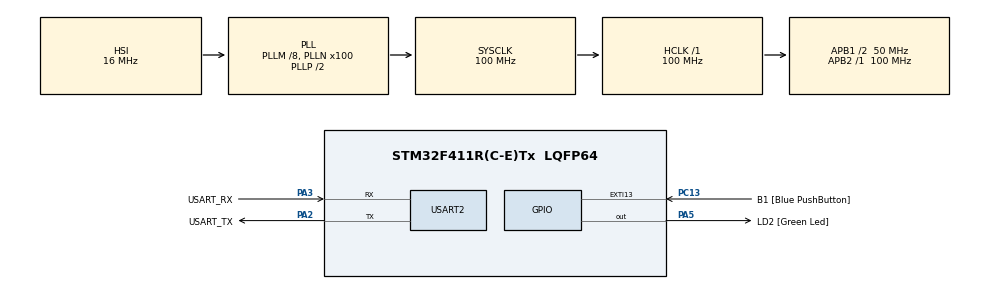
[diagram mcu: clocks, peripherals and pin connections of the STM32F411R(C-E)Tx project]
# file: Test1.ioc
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Dma.Request0=USART2_RX
Dma.Request1=USART2_TX
Dma.USART2_RX.0.Direction=DMA_PERIPH_TO_MEMORY
Dma.USART2_RX.0.FIFOMode=DMA_FIFOMODE_DISABLE
Dma.USART2_RX.0.Instance=DMA1_Stream5
Dma.USART2_RX.0.MemDataAlignment=DMA_MDATAALIGN_BYTE
Dma.USART2_RX.0.MemInc=DMA_MINC_ENABLE
Dma.USART2_RX.0.Mode=DMA_NORMAL
Dma.USART2_RX.0.PeriphDataAlignment=DMA_PDATAALIGN_BYTE
Dma.USART2_RX.0.PeriphInc=DMA_PINC_DISABLE
Dma.USART2_RX.0.Priority=DMA_PRIORITY_LOW
Dma.USART2_TX.1.Direction=DMA_MEMORY_TO_PERIPH
Dma.USART2_TX.1.FIFOMode=DMA_FIFOMODE_DISABLE
Dma.USART2_TX.1.Instance=DMA1_Stream6
Dma.USART2_TX.1.MemDataAlignment=DMA_MDATAALIGN_BYTE
Dma.USART2_TX.1.MemInc=DMA_MINC_ENABLE
Dma.USART2_TX.1.Mode=DMA_NORMAL
Dma.USART2_TX.1.PeriphDataAlignment=DMA_PDATAALIGN_BYTE
Dma.USART2_TX.1.PeriphInc=DMA_PINC_DISABLE
Dma.USART2_TX.1.Priority=DMA_PRIORITY_LOW
Mcu.Family=STM32F4
Mcu.Name=STM32F411R(C-E)Tx
Mcu.Package=LQFP64
NVIC.DMA1_Stream5_IRQn=true\:0\:0\:false\:false\:true\:false\:true\:true
NVIC.DMA1_Stream6_IRQn=true\:0\:0\:false\:false\:true\:false\:true\:true
NVIC.PriorityGroup=NVIC_PRIORITYGROUP_0
NVIC.USART2_IRQn=true\:0\:0\:false\:false\:true\:true\:true\:true
PA13.GPIO_Label=TMS
PA13.Mode=Serial_Wire
PA13.Signal=SYS_JTMS-SWDIO
PA14.GPIO_Label=TCK
PA14.Mode=Serial_Wire
PA14.Signal=SYS_JTCK-SWCLK
PA2.GPIO_Label=USART_TX
PA2.Mode=Asynchronous
PA2.Signal=USART2_TX
PA3.GPIO_Label=USART_RX
PA3.Mode=Asynchronous
PA3.Signal=USART2_RX
PA5.GPIO_Label=LD2 [Green Led]
PA5.Signal=GPIO_Output
PB3.GPIO_Label=SWO
PB3.Signal=SYS_JTDO-SWO
PC13-ANTI_TAMP.GPIO_Label=B1 [Blue PushButton]
PC13-ANTI_TAMP.GPIO_ModeDefaultEXTI=GPIO_MODE_IT_FALLING
PC13-ANTI_TAMP.Signal=GPXTI13
PC14-OSC32_IN.Mode=LSE-External-Oscillator
PC14-OSC32_IN.Signal=RCC_OSC32_IN
PC15-OSC32_OUT.Mode=LSE-External-Oscillator
PC15-OSC32_OUT.Signal=RCC_OSC32_OUT
PH0\ -\ OSC_IN.Mode=HSE-External-Clock-Source
PH0\ -\ OSC_IN.Signal=RCC_OSC_IN
PH1\ -\ OSC_OUT.Mode=HSE-External-Clock-Source
PH1\ -\ OSC_OUT.Signal=RCC_OSC_OUT
ProjectManager.HeapSize=0x200
ProjectManager.StackSize=0x400
ProjectManager.TargetToolchain=STM32CubeIDE
RCC.48MHZClocksFreq_Value=50000000
RCC.AHBFreq_Value=100000000
RCC.APB1CLKDivider=RCC_HCLK_DIV2
RCC.APB1Freq_Value=50000000
RCC.APB1TimFreq_Value=100000000
RCC.APB2Freq_Value=100000000
RCC.APB2TimFreq_Value=100000000
RCC.CortexFreq_Value=100000000
RCC.FLatency-AdvancedSettings=FLASH_LATENCY_3
RCC.HCLKFreq_Value=100000000
RCC.HSE_VALUE=8000000
RCC.HSI_VALUE=16000000
RCC.PLLM=8
RCC.PLLN=100
RCC.SYSCLKFreq_VALUE=100000000
RCC.SYSCLKSource=RCC_SYSCLKSOURCE_PLLCLK
RCC.VCOOutputFreq_Value=200000000
USART2.VirtualMode=VM_ASYNC
board=NUCLEO-F411RE

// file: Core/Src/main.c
/* USER CODE BEGIN Header */
/**
  ******************************************************************************
  * @file           : main.c
  * @brief          : Main program body
  ******************************************************************************
  * @attention
  *
  * Copyright (c) 2023 STMicroelectronics.
  * All rights reserved.
  *
  * This software is licensed under terms that can be found in the LICENSE file
  * in the root directory of this software component.
  * If no LICENSE file comes with this software, it is provided AS-IS.
  *
  ******************************************************************************
  */
/* USER CODE END Header */
#include "main.h"

UART_HandleTypeDef huart2;
DMA_HandleTypeDef hdma_usart2_rx;
DMA_HandleTypeDef hdma_usart2_tx;

void SystemClock_Config(void);
static void MX_GPIO_Init(void);
static void MX_DMA_Init(void);
static void MX_USART2_UART_Init(void);

/* USER CODE BEGIN 0 */
uint8_t temp,message[40];
int idx = 2;
void HAL_UART_RxCpltCallback(UART_HandleTypeDef *huart){
	message[idx++] = temp;
	if(temp == '\r' || temp == '\n'){
//		Enter
		for(int i=2;i<(2+idx)/2;i++){
			temp = message[i];
			message[i] = message[idx-i];
			message[idx-i] = temp;
		}
		message[0] = '\r';
		message[1] = '\n';
		message[idx-1] = '\r';
		message[idx] = '\n';
		HAL_UART_Transmit_DMA(&huart2, message, idx+1);
		idx = 2;
	}else{
//		Others
		HAL_UART_Transmit_DMA(&huart2, &temp, 1);
	}
	HAL_UART_Receive_DMA(&huart2, &temp, 1);
}
/* USER CODE END 0 */

int main(void)
{

  /* MCU Configuration--------------------------------------------------------*/

  /* Reset of all peripherals, Initializes the Flash interface and the Systick. */
  HAL_Init();

  /* Configure the system clock */
  SystemClock_Config();

  /* Initialize all configured peripherals */
  MX_GPIO_Init();
  MX_DMA_Init();
  MX_USART2_UART_Init();
  /* USER CODE BEGIN 2 */
  HAL_UART_Receive_DMA(&huart2, &temp, 1);
  /* USER CODE END 2 */

  /* Infinite loop */
  /* USER CODE BEGIN WHILE */
  while (1)
  {
	  HAL_GPIO_TogglePin(GPIOA, GPIO_PIN_5);
	  HAL_Delay(100);
    /* USER CODE END WHILE */

  }
}

void SystemClock_Config(void)
{
  RCC_OscInitTypeDef RCC_OscInitStruct = {0};
  RCC_ClkInitTypeDef RCC_ClkInitStruct = {0};

  /** Configure the main internal regulator output voltage
  */
  __HAL_RCC_PWR_CLK_ENABLE();
  __HAL_PWR_VOLTAGESCALING_CONFIG(PWR_REGULATOR_VOLTAGE_SCALE1);

  /** Initializes the RCC Oscillators according to the specified parameters
  * in the RCC_OscInitTypeDef structure.
  */
  RCC_OscInitStruct.OscillatorType = RCC_OSCILLATORTYPE_HSI;
  RCC_OscInitStruct.HSIState = RCC_HSI_ON;
  RCC_OscInitStruct.HSICalibrationValue = RCC_HSICALIBRATION_DEFAULT;
  RCC_OscInitStruct.PLL.PLLState = RCC_PLL_ON;
  RCC_OscInitStruct.PLL.PLLSource = RCC_PLLSOURCE_HSI;
  RCC_OscInitStruct.PLL.PLLM = 8;
  RCC_OscInitStruct.PLL.PLLN = 100;
  RCC_OscInitStruct.PLL.PLLP = RCC_PLLP_DIV2;
  RCC_OscInitStruct.PLL.PLLQ = 4;
  if (HAL_RCC_OscConfig(&RCC_OscInitStruct) != HAL_OK)
  {
    Error_Handler();
  }

  /** Initializes the CPU, AHB and APB buses clocks
  */
  RCC_ClkInitStruct.ClockType = RCC_CLOCKTYPE_HCLK|RCC_CLOCKTYPE_SYSCLK
                              |RCC_CLOCKTYPE_PCLK1|RCC_CLOCKTYPE_PCLK2;
  RCC_ClkInitStruct.SYSCLKSource = RCC_SYSCLKSOURCE_PLLCLK;
  RCC_ClkInitStruct.AHBCLKDivider = RCC_SYSCLK_DIV1;
  RCC_ClkInitStruct.APB1CLKDivider = RCC_HCLK_DIV2;
  RCC_ClkInitStruct.APB2CLKDivider = RCC_HCLK_DIV1;

  if (HAL_RCC_ClockConfig(&RCC_ClkInitStruct, FLASH_LATENCY_3) != HAL_OK)
  {
    Error_Handler();
  }
}

static void MX_USART2_UART_Init(void)
{

  huart2.Instance = USART2;
  huart2.Init.BaudRate = 115200;
  huart2.Init.WordLength = UART_WORDLENGTH_8B;
  huart2.Init.StopBits = UART_STOPBITS_1;
  huart2.Init.Parity = UART_PARITY_NONE;
  huart2.Init.Mode = UART_MODE_TX_RX;
  huart2.Init.HwFlowCtl = UART_HWCONTROL_NONE;
  huart2.Init.OverSampling = UART_OVERSAMPLING_16;
  if (HAL_UART_Init(&huart2) != HAL_OK)
  {
    Error_Handler();
  }

}

static void MX_DMA_Init(void)
{

  /* DMA controller clock enable */
  __HAL_RCC_DMA1_CLK_ENABLE();

  /* DMA interrupt init */
  /* DMA1_Stream5_IRQn interrupt configuration */
  HAL_NVIC_SetPriority(DMA1_Stream5_IRQn, 0, 0);
  HAL_NVIC_EnableIRQ(DMA1_Stream5_IRQn);
  /* DMA1_Stream6_IRQn interrupt configuration */
  HAL_NVIC_SetPriority(DMA1_Stream6_IRQn, 0, 0);
  HAL_NVIC_EnableIRQ(DMA1_Stream6_IRQn);

}

static void MX_GPIO_Init(void)
{
  GPIO_InitTypeDef GPIO_InitStruct = {0};

  /* GPIO Ports Clock Enable */
  __HAL_RCC_GPIOC_CLK_ENABLE();
  __HAL_RCC_GPIOH_CLK_ENABLE();
  __HAL_RCC_GPIOA_CLK_ENABLE();
  __HAL_RCC_GPIOB_CLK_ENABLE();

  /*Configure GPIO pin Output Level */
  HAL_GPIO_WritePin(LD2_GPIO_Port, LD2_Pin, GPIO_PIN_RESET);

  /*Configure GPIO pin : B1_Pin */
  GPIO_InitStruct.Pin = B1_Pin;
  GPIO_InitStruct.Mode = GPIO_MODE_IT_FALLING;
  GPIO_InitStruct.Pull = GPIO_NOPULL;
  HAL_GPIO_Init(B1_GPIO_Port, &GPIO_InitStruct);

  /*Configure GPIO pin : LD2_Pin */
  GPIO_InitStruct.Pin = LD2_Pin;
  GPIO_InitStruct.Mode = GPIO_MODE_OUTPUT_PP;
  GPIO_InitStruct.Pull = GPIO_NOPULL;
  GPIO_InitStruct.Speed = GPIO_SPEED_FREQ_LOW;
  HAL_GPIO_Init(LD2_GPIO_Port, &GPIO_InitStruct);

}

void Error_Handler(void)
{
  __disable_irq();
  while (1)
  {
  }
}
